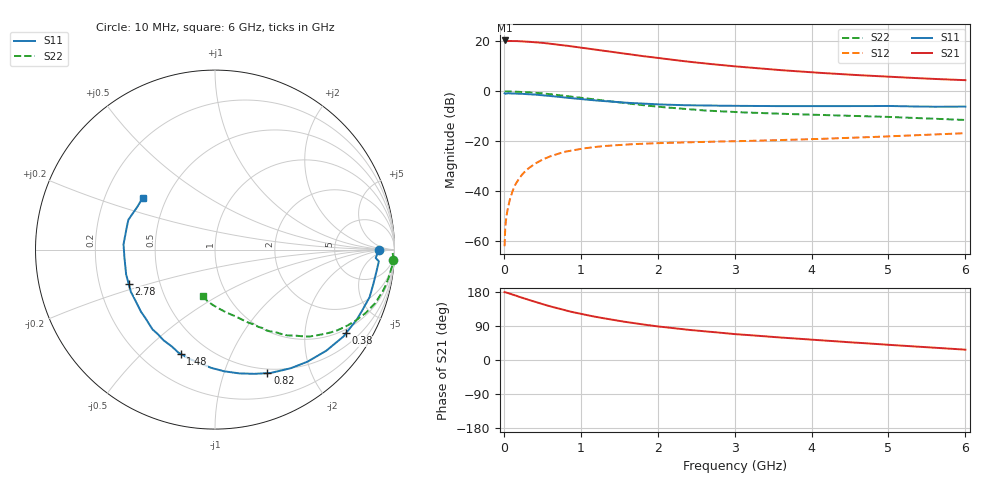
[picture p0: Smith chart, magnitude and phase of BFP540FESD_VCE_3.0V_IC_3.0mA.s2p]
! Infineon Technologies  Discrete & RF Semiconductors
! BFP540FESD
! VCE =  3.0 V,  IC =  3.0 mA
! Common Emitter S-Parameters:  Nov 2015
# GHz  S  MA  R  50
!  f  S11  S21  S12  S22
! GHz  MAG  ANG  MAG  ANG  MAG  ANG  MAG  ANG
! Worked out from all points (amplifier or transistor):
!   210 points, 10 MHz to 6 GHz, reference 50 ohm
!   highest |S21| = 20.4 dB at 10 MHz (marker M1)
!   |S21| within 3 dB of that: start of sweep to 1.033 GHz
!   unconditionally stable (mu >= 1): 3.136 GHz to end of sweep
!   at 185 MHz: K = 0.05, MSG = 27.8 dB, |S12| = -35.5 dB
!   at 1.52 GHz: K = 0.46, MSG = 18.3 dB, |S12| = -21.4 dB
!   at 6 GHz: K = 1.43, MAG = 6.7 dB, |S12| = -16.7 dB
!   S11 on the Smith chart (normalised r, x): 10 MHz: 22, +0; 380 MHz: 0.86, -3.22; 820 MHz: 0.45, -1.41; 1.48 GHz: 0.36, -0.66; 2.78 GHz: 0.33, -0.17; 6 GHz: 0.37, +0.28
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0.01  0.9137 0.0  10.43 179.0  0.0008 82.8  0.996 -3.4
0.02  0.8966 -3.0  10.07 178.8  0.002 90.8  0.9902 -1.0
0.035  0.9059 -3.6  10.12 177.8  0.0032 93.6  0.9918 -1.7
0.11  0.9053 -9.4  10.14 173.0  0.0097 84.8  0.9913 -5.3
0.15  0.9022 -13.5  10.18 170.4  0.0137 83.7  0.9855 -7.1
0.24  0.8915 -20.6  9.986 164.3  0.0218 78.6  0.9731 -11.3
0.38  0.8661 -32.5  9.678 155.2  0.0335 72.9  0.9444 -17.7
0.5  0.8376 -42.3  9.377 147.7  0.043 67.2  0.9111 -22.8
0.6  0.8096 -50.5  8.976 141.6  0.0499 63.0  0.8796 -26.6
0.82  0.7477 -67.0  8.19 130.1  0.063 55.7  0.8051 -34.5
1.02  0.6975 -80.2  7.433 121.1  0.0715 49.6  0.7395 -40.3
1.2  0.658 -92.2  6.782 113.5  0.0776 45.3  0.6826 -45.0
1.48  0.6114 -108.3  5.928 103.6  0.0843 40.0  0.6051 -51.3
1.78  0.5711 -123.1  5.141 94.4  0.0892 35.8  0.5368 -57.2
2.02  0.5473 -133.8  4.632 88.2  0.0922 33.2  0.4909 -60.9
2.4  0.526 -147.6  3.925 79.6  0.0956 30.7  0.4413 -66.2
2.78  0.517 -158.5  3.416 72.7  0.0992 29.8  0.4013 -71.1
3.1  0.5112 -166.5  3.078 67.0  0.1013 28.8  0.3805 -74.5
3.5  0.5065 -175.3  2.725 60.6  0.1048 28.3  0.3606 -78.7
4.1  0.5089 175.1  2.352 52.3  0.1119 29.1  0.3376 -84.0
5.1  0.5064 159.3  1.932 38.8  0.1276 28.3  0.3037 -93.8
6  0.4951 144.6  1.674 27.3  0.1457 26.6  0.2677 -104.2
